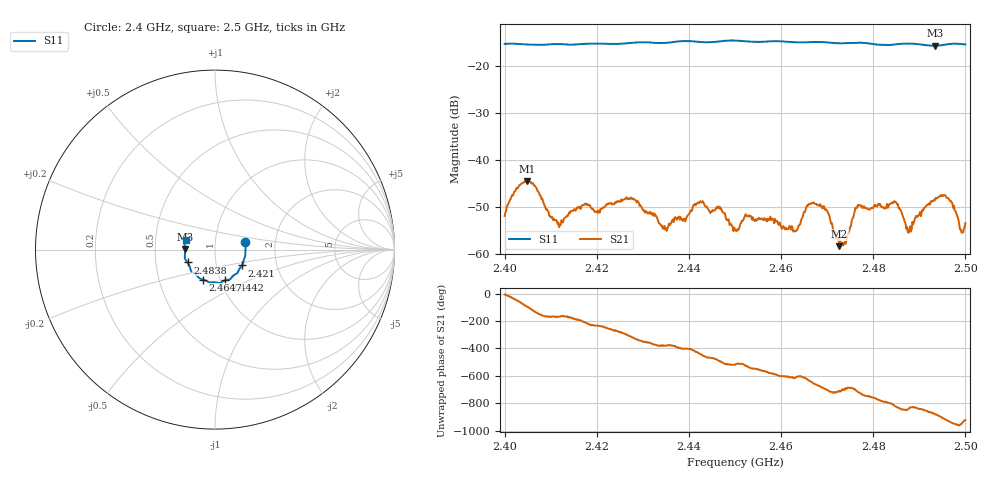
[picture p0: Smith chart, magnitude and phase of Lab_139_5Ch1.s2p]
# Hz S RI R 50
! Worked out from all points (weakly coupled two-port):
!   601 points, 2.4 GHz to 2.5 GHz, reference 50 ohm
!   highest |S21| = -44.52 dB at 2.4048 GHz (marker M1); lowest = -58.3 dB at 2.4727 GHz (marker M2)
!   lowest |S11| = -15.6 dB at 2.4935 GHz (marker M3), VSWR 1.40, Z = 35.8 + j0.208 ohm
!   |S11| at or under -10 dB: start of sweep to end of sweep
!   S12 and S22 are empty: the file has one direction only
!   S11 on the Smith chart (normalised r, x): 2.4 GHz: 1.40, +0.12; 2.421 GHz: 1.33, -0.24; 2.4442 GHz: 1.05, -0.37; 2.4647 GHz: 0.83, -0.29; 2.4838 GHz: 0.73, -0.11; 2.5 GHz: 0.72, +0.08
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2.4e9  0.1683 0.0407  0.00253 -0.000337  0 0  0 0
2.404833e9  0.1702 0.011  -0.000474 -0.00593  0 0  0 0
2.411667e9  0.1682 -0.0369  -0.00214 -0.000382  0 0  0 0
2.416667e9  0.1586 -0.0682  -0.00304 0.00116  0 0  0 0
2.421e9  0.1503 -0.0881  -0.0015 0.00263  0 0  0 0
2.427833e9  0.1287 -0.1232  0.00308 0.00239  0 0  0 0
2.433333e9  0.1081 -0.1402  0.00212 -0.000743  0 0  0 0
2.444167e9  0.0567 -0.1711  -0.000813 -0.0029  0 0  0 0
2.45e9  0.0243 -0.1866  -0.00171 -0.000606  0 0  0 0
2.452667e9  0.0113 -0.1838  -0.00248 -0.000484  0 0  0 0
2.463167e9  -0.0554 -0.1714  -0.00051 0.0017  0 0  0 0
2.464667e9  -0.0672 -0.1667  -0.000872 0.00232  0 0  0 0
2.466667e9  -0.0804 -0.1625  0.001 0.00333  0 0  0 0
2.469667e9  -0.0923 -0.1549  0.0028 0.00112  0 0  0 0
2.472667e9  -0.1054 -0.1407  0.0012 0.000195  0 0  0 0
2.476667e9  -0.1307 -0.1212  0.00334 0.000156  0 0  0 0
2.483333e9  -0.1504 -0.076  0.000725 -0.00316  0 0  0 0
2.483833e9  -0.153 -0.0719  0.000365 -0.00344  0 0  0 0
2.487833e9  -0.1678 -0.0485  -0.000754 -0.00163  0 0  0 0
2.4935e9  -0.1656 0.00282  -0.00371 -0.00139  0 0  0 0
2.496e9  -0.1693 0.0258  -0.00361 0.00165  0 0  0 0
2.5e9  -0.1627 0.0527  -0.00195 0.000876  0 0  0 0
